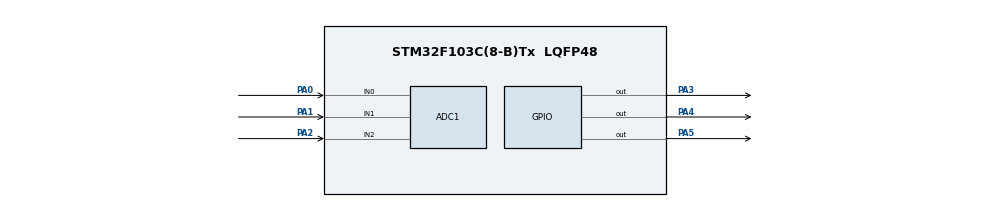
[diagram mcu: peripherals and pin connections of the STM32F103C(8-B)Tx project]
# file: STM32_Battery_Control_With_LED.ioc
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ADC1.Channel-0\#ChannelRegularConversion=ADC_CHANNEL_0
ADC1.Channel-1\#ChannelRegularConversion=ADC_CHANNEL_1
ADC1.ContinuousConvMode=ENABLE
ADC1.NbrOfConversion=2
ADC1.NbrOfConversionFlag=1
ADC1.Rank-0\#ChannelRegularConversion=1
ADC1.Rank-1\#ChannelRegularConversion=2
ADC1.SamplingTime-0\#ChannelRegularConversion=ADC_SAMPLETIME_1CYCLE_5
ADC1.SamplingTime-1\#ChannelRegularConversion=ADC_SAMPLETIME_1CYCLE_5
ADC1.master=1
Mcu.Family=STM32F1
Mcu.Name=STM32F103C(8-B)Tx
Mcu.Package=LQFP48
NVIC.ADC1_2_IRQn=true\:0\:0\:false\:false\:true\:true\:true\:true
NVIC.PriorityGroup=NVIC_PRIORITYGROUP_4
PA0-WKUP.Signal=ADCx_IN0
PA1.Signal=ADCx_IN1
PA13.Mode=Serial_Wire
PA13.Signal=SYS_JTMS-SWDIO
PA14.Mode=Serial_Wire
PA14.Signal=SYS_JTCK-SWCLK
PA2.Signal=ADCx_IN2
PA3.Signal=GPIO_Output
PA4.Signal=GPIO_Output
PA5.Signal=GPIO_Output
PD0-OSC_IN.Mode=HSE-External-Oscillator
PD0-OSC_IN.Signal=RCC_OSC_IN
PD1-OSC_OUT.Mode=HSE-External-Oscillator
PD1-OSC_OUT.Signal=RCC_OSC_OUT
ProjectManager.HeapSize=0x200
ProjectManager.StackSize=0x400
ProjectManager.TargetToolchain=STM32CubeIDE
RCC.APB1Freq_Value=8000000
RCC.APB2Freq_Value=8000000
SH.ADCx_IN0.0=ADC1_IN0,IN0
SH.ADCx_IN1.0=ADC1_IN1,IN1
SH.ADCx_IN2.0=ADC1_IN2,IN2
board=custom

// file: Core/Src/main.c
/* USER CODE BEGIN Header */
/**
  ******************************************************************************
  * @file           : main.c
  * @brief          : Main program body
  ******************************************************************************
  * @attention
  *
  * Copyright (c) 2025 STMicroelectronics.
  * All rights reserved.
  *
  * This software is licensed under terms that can be found in the LICENSE file
  * in the root directory of this software component.
  * If no LICENSE file comes with this software, it is provided AS-IS.
  *
  ******************************************************************************
  */
/* USER CODE END Header */

#include "main.h"

/* USER CODE BEGIN Includes */
// Gerekli ek kütüphaneler buraya eklenebilir
/* USER CODE END Includes */

/* USER CODE BEGIN PTD */
// Özel tip tanımlamaları buraya eklenebilir
/* USER CODE END PTD */

/* USER CODE BEGIN PD */
#define ADC_MAX_VALUE       4095.0f  // 12-bit ADC için maksimum değer (STM32F103)
#define VREF_VOLTAGE        3.3f     // STM32'nin dahili referans voltajı (genellikle 3.3V)

// Pil voltajı toleransları (gerçek pil voltajları için, 6V için voltaj bölücü sonrası okunan değeri temsil eder)
#define V_3V_MIN            2.8f     // 3V pil için alt tolerans sınırı
#define V_3V_MAX            3.2f     // 3V pil için üst tolerans sınırı
#define V_1V_MIN            0.8f     // 1V pil için alt tolerans sınırı
#define V_1V_MAX            1.2f     // 1V pil için üst tolerans sınırı
#define V_6V_MIN            2.8f     // 6V pil için alt tolerans sınırı (voltaj bölücü sonrası ~3V'a karşılık)
#define V_6V_MAX            3.2f     // 6V pil için üst tolerans sınırı (voltaj bölücü sonrası ~3V'a karşılık)

// LED pin tanımlamaları (Sizin tercihlerinize göre: Yeşil: PA3, Mavi: PA4, Kırmızı: PA5)
#define GREEN_LED_PIN       GPIO_PIN_3  // PA3 - 3V Pil için
#define BLUE_LED_PIN        GPIO_PIN_4  // PA4 - 1V Pil için
#define RED_LED_PIN         GPIO_PIN_5  // PA5 - 6V Pil için

#define LED_GPIO_PORT       GPIOA       // Tüm LED'ler GPIOA portunda

/* USER CODE END PD */

/* USER CODE BEGIN PM */
// Özel makrolar buraya eklenebilir
/* USER CODE END PM */

ADC_HandleTypeDef hadc1; // ADC1 için HAL tanıtıcısı

/* USER CODE BEGIN PV */
// Özel değişkenler buraya eklenebilir
/* USER CODE END PV */

void SystemClock_Config(void); // Sistem saati yapılandırma fonksiyonu
static void MX_GPIO_Init(void); // GPIO pinlerini başlatma fonksiyonu
static void MX_ADC1_Init(void); // ADC1 birimini başlatma fonksiyonu
/* USER CODE BEGIN PFP */
// Özel fonksiyon prototipleri buraya eklenebilir
/* USER CODE END PFP */

/* USER CODE BEGIN 0 */
// Kullanıcı tanımlı özel kod blokları buraya eklenebilir
/* USER CODE END 0 */

int main(void)
{
  /* USER CODE BEGIN 1 */
  // main fonksiyonunun başlangıcı için kullanıcı kodu
  /* USER CODE END 1 */

  /* MCU Configuration--------------------------------------------------------*/

  /* Reset of all peripherals, Initializes the Flash interface and the Systick. */
  HAL_Init(); // HAL kütüphanesini başlat

  /* USER CODE BEGIN Init */
  // Çevre birimi başlatmadan önce kullanıcı kodu
  /* USER CODE END Init */

  /* Configure the system clock */
  SystemClock_Config(); // Sistem saatini yapılandır

  /* USER CODE BEGIN SysInit */
  // Sistem başlatıldıktan sonra kullanıcı kodu
  /* USER CODE END SysInit */

  /* Initialize all configured peripherals */
  MX_GPIO_Init(); // GPIO pinlerini başlat
  MX_ADC1_Init(); // ADC1 birimini başlat
  /* USER CODE BEGIN 2 */
  // Çevre birimleri başlatıldıktan sonra kullanıcı kodu
  /* USER CODE END 2 */

  /* Infinite loop */
  /* USER CODE BEGIN WHILE */
  uint32_t adc_raw_value_ch0; // PA0'dan okunan ham ADC değeri (3V pil)
  uint32_t adc_raw_value_ch1; // PA1'den okunan ham ADC değeri (1V pil)
  uint32_t adc_raw_value_ch2; // PA2'den okunan ham ADC değeri (6V pil - voltaj bölücü sonrası)
  float voltage_3v_battery;   // 3V pilin okunacak voltaj değeri
  float voltage_1v_battery;   // 1V pilin okunacak voltaj değeri
  float voltage_6v_battery;   // 6V pilin okunacak voltaj değeri (voltaj bölücü sonrası)

  while (1)
  {
    // ADC dönüşümlerini başlat (Scan Mode etkin olduğu için 3 kanalı sırayla okuyacak)
    HAL_ADC_Start(&hadc1);

    // İlk kanalın (PA0 - 3V pil) dönüşümünün tamamlanmasını bekle
    HAL_ADC_PollForConversion(&hadc1, HAL_MAX_DELAY);
    adc_raw_value_ch0 = HAL_ADC_GetValue(&hadc1); // PA0 değerini al

    // İkinci kanalın (PA1 - 1V pil) dönüşümünün tamamlanmasını bekle
    HAL_ADC_PollForConversion(&hadc1, HAL_MAX_DELAY);
    adc_raw_value_ch1 = HAL_ADC_GetValue(&hadc1); // PA1 değerini al

    // Üçüncü kanalın (PA2 - 6V pil) dönüşümünün tamamlanmasını bekle
    HAL_ADC_PollForConversion(&hadc1, HAL_MAX_DELAY);
    adc_raw_value_ch2 = HAL_ADC_GetValue(&hadc1); // PA2 değerini al

    // ADC'yi durdur
    HAL_ADC_Stop(&hadc1);

    // Ham ADC değerlerini gerçek voltaja dönüştür
    voltage_3v_battery = (adc_raw_value_ch0 / ADC_MAX_VALUE) * VREF_VOLTAGE;
    voltage_1v_battery = (adc_raw_value_ch1 / ADC_MAX_VALUE) * VREF_VOLTAGE;
    voltage_6v_battery = (adc_raw_value_ch2 / ADC_MAX_VALUE) * VREF_VOLTAGE; // Okunan değer voltaj bölücü sonrası değerdir

    // --- LED Kontrol Mantığı ---
    // Her döngü başında tüm LED'leri söndür ki sadece ilgili olan yansın
    HAL_GPIO_WritePin(LED_GPIO_PORT, GREEN_LED_PIN, GPIO_PIN_RESET);
    HAL_GPIO_WritePin(LED_GPIO_PORT, BLUE_LED_PIN, GPIO_PIN_RESET);
    HAL_GPIO_WritePin(LED_GPIO_PORT, RED_LED_PIN, GPIO_PIN_RESET);

    // Eğer 3V pil voltajı belirlenen aralıktaysa Yeşil LED'i yak (PA3)
    if (voltage_3v_battery >= V_3V_MIN && voltage_3v_battery <= V_3V_MAX)
    {
      HAL_GPIO_WritePin(LED_GPIO_PORT, GREEN_LED_PIN, GPIO_PIN_SET);
    }
    // Eğer 1V pil voltajı belirlenen aralıktaysa Mavi LED'i yak (PA4)
    else if (voltage_1v_battery >= V_1V_MIN && voltage_1v_battery <= V_1V_MAX)
    {
    	HAL_GPIO_WritePin(LED_GPIO_PORT, BLUE_LED_PIN, GPIO_PIN_SET);
    }
    // Eğer 6V pil voltajı belirlenen aralıktaysa Kırmızı LED'i yak (PA5 - voltaj bölücü sonrası ~3V'a karşılık)
    else if (voltage_6v_battery >= V_6V_MIN && voltage_6v_battery <= V_6V_MAX)
    {
    	HAL_GPIO_WritePin(LED_GPIO_PORT, RED_LED_PIN, GPIO_PIN_SET);
    }
    // Hiçbir koşul sağlanmazsa zaten tüm LED'ler başta söndürülmüştü

    HAL_Delay(500); // 500 milisaniye bekle
  }
  /* USER CODE END WHILE */

  /* USER CODE BEGIN 3 */
  // Sonsuz döngüden sonraki kullanıcı kodu (buraya genellikle ulaşılmaz)
  /* USER CODE END 3 */
}

void SystemClock_Config(void)
{
  RCC_OscInitTypeDef RCC_OscInitStruct = {0};
  RCC_ClkInitTypeDef RCC_ClkInitStruct = {0};
  RCC_PeriphCLKInitTypeDef PeriphClkInit = {0};

  /** Initializes the RCC Oscillators according to the specified parameters
  * in the RCC_OscInitTypeDef structure.
  */
  // HSI (Dahili Yüksek Hızlı Osilatör) kullanılıyor.
  // Eğer harici kristal (HSE) kullanmak isterseniz bu kısmı CubeIDE'den ayarlayarak değiştirmelisiniz.
  RCC_OscInitStruct.OscillatorType = RCC_OSCILLATORTYPE_HSI;
  RCC_OscInitStruct.HSIState = RCC_HSI_ON;
  RCC_OscInitStruct.HSICalibrationValue = RCC_HSICALIBRATION_DEFAULT;
  RCC_OscInitStruct.PLL.PLLState = RCC_PLL_NONE; // PLL kullanılmıyor, HSI doğrudan SYSCLK'e bağlanıyor
  if (HAL_RCC_OscConfig(&RCC_OscInitStruct) != HAL_OK)
  {
    Error_Handler();
  }

  /** Initializes the CPU, AHB and APB buses clocks
  */
  // Sistem saati HSI'dan geliyor (8MHz varsayılan)
  RCC_ClkInitStruct.ClockType = RCC_CLOCKTYPE_HCLK|RCC_CLOCKTYPE_SYSCLK
                              |RCC_CLOCKTYPE_PCLK1|RCC_CLOCKTYPE_PCLK2;
  RCC_ClkInitStruct.SYSCLKSource = RCC_SYSCLKSOURCE_HSI; // Sistem saati kaynağı HSI
  RCC_ClkInitStruct.AHBCLKDivider = RCC_SYSCLK_DIV1;
  RCC_ClkInitStruct.APB1CLKDivider = RCC_HCLK_DIV1;
  RCC_ClkInitStruct.APB2CLKDivider = RCC_HCLK_DIV1;

  if (HAL_RCC_ClockConfig(&RCC_ClkInitStruct, FLASH_LATENCY_0) != HAL_OK)
  {
    Error_Handler();
  }
  // ADC saati yapılandırması (APB2 saatinden bölünerek)
  PeriphClkInit.PeriphClockSelection = RCC_PERIPHCLK_ADC;
  PeriphClkInit.AdcClockSelection = RCC_ADCPCLK2_DIV2; // APB2 saatinin 2'ye bölünmesi
  if (HAL_RCCEx_PeriphCLKConfig(&PeriphClkInit) != HAL_OK)
  {
    Error_Handler();
  }
}

static void MX_ADC1_Init(void)
{

  /* USER CODE BEGIN ADC1_Init 0 */
  // ADC1 başlatma öncesi kullanıcı kodu
  /* USER CODE END ADC1_Init 0 */

  ADC_ChannelConfTypeDef sConfig = {0};

  /* USER CODE BEGIN ADC1_Init 1 */
  // ADC1 başlatma sonrası kullanıcı kodu
  /* USER CODE END ADC1_Init 1 */

  /** Common config
  * ADC'nin genel ayarları
  */
  hadc1.Instance = ADC1; // Kullanılacak ADC birimi (ADC1)
  hadc1.Init.ScanConvMode = ADC_SCAN_ENABLE; // Tarama modu AÇIK
  hadc1.Init.ContinuousConvMode = DISABLE;   // Sürekli dönüşüm modu KAPALI (manuel başlatacağız)
  hadc1.Init.DiscontinuousConvMode = DISABLE; // Kesintili dönüşüm modu KAPALI
  hadc1.Init.ExternalTrigConv = ADC_SOFTWARE_START; // Yazılım tetiklemeli başlatma
  hadc1.Init.DataAlign = ADC_DATAALIGN_RIGHT; // Veri hizalaması (sağa hizalı)
  hadc1.Init.NbrOfConversion = 3; // Toplam 3 kanal okunacak (PA0, PA1, PA2)
  if (HAL_ADC_Init(&hadc1) != HAL_OK)
  {
    Error_Handler();
  }

  /** Configure Regular Channel - ADC_CHANNEL_0 (PA0)
  * PA0 pinini ADC Kanal 0 olarak yapılandır (Rank 1)
  */
  sConfig.Channel = ADC_CHANNEL_0;
  sConfig.Rank = ADC_REGULAR_RANK_1; // Düzenli dönüşüm sırasındaki ilk kanal
  sConfig.SamplingTime = ADC_SAMPLETIME_1CYCLE_5; // Örnekleme süresi
  if (HAL_ADC_ConfigChannel(&hadc1, &sConfig) != HAL_OK)
  {
    Error_Handler();
  }

  /** Configure Regular Channel - ADC_CHANNEL_1 (PA1)
  * PA1 pinini ADC Kanal 1 olarak yapılandır (Rank 2)
  */
  sConfig.Channel = ADC_CHANNEL_1;
  sConfig.Rank = ADC_REGULAR_RANK_2; // Düzenli dönüşüm sırasındaki ikinci kanal
  sConfig.SamplingTime = ADC_SAMPLETIME_1CYCLE_5; // Örnekleme süresi
  if (HAL_ADC_ConfigChannel(&hadc1, &sConfig) != HAL_OK)
  {
    Error_Handler();
  }

  /** Configure Regular Channel - ADC_CHANNEL_2 (PA2)
  * PA2 pinini ADC Kanal 2 olarak yapılandır (Rank 3)
  */
  sConfig.Channel = ADC_CHANNEL_2;
  sConfig.Rank = ADC_REGULAR_RANK_3; // Düzenli dönüşüm sırasındaki üçüncü kanal
  sConfig.SamplingTime = ADC_SAMPLETIME_1CYCLE_5; // Örnekleme süresi
  if (HAL_ADC_ConfigChannel(&hadc1, &sConfig) != HAL_OK)
  {
    Error_Handler();
  }
  /* USER CODE END ADC1_Init 2 */

}

static void MX_GPIO_Init(void)
{
  GPIO_InitTypeDef GPIO_InitStruct = {0};
  /* USER CODE BEGIN MX_GPIO_Init_1 */
  // GPIO başlatma öncesi kullanıcı kodu
  /* USER CODE END MX_GPIO_Init_1 */

  /* GPIO Ports Clock Enable */
  __HAL_RCC_GPIOD_CLK_ENABLE(); // GPIOD saati etkinleştirildi (eğer kullanılıyorsa)
  __HAL_RCC_GPIOA_CLK_ENABLE(); // GPIOA saati etkinleştirildi

  /*Configure GPIO pin Output Level */
  // Başlangıçta tüm LED pinlerini KAPALI yap
  HAL_GPIO_WritePin(GPIOA, GREEN_LED_PIN|BLUE_LED_PIN|RED_LED_PIN, GPIO_PIN_RESET);

  /*Configure GPIO pins : PA3 PA4 PA5 */
  // LED pinlerini çıkış olarak yapılandır
  GPIO_InitStruct.Pin = GREEN_LED_PIN|BLUE_LED_PIN|RED_LED_PIN; // PA3, PA4, PA5
  GPIO_InitStruct.Mode = GPIO_MODE_OUTPUT_PP; // Push-Pull çıkış modu
  GPIO_InitStruct.Pull = GPIO_NOPULL; // Pull-up/down direnci yok
  GPIO_InitStruct.Speed = GPIO_SPEED_FREQ_LOW; // Düşük çıkış hızı
  HAL_GPIO_Init(GPIOA, &GPIO_InitStruct);

  /* USER CODE BEGIN MX_GPIO_Init_2 */
  // GPIO başlatma sonrası kullanıcı kodu
  /* USER CODE END MX_GPIO_Init_2 */
}

/* USER CODE BEGIN 4 */
// Özel fonksiyonlar buraya eklenebilir
/* USER CODE END 4 */

void Error_Handler(void)
{
  /* USER CODE BEGIN Error_Handler_Debug */
  /* User can add his own implementation to report the HAL error return state */
  __disable_irq(); // Tüm kesmeleri devre dışı bırak
  while (1)
  {
    // Hata durumunda burada takılı kalır, debug için kullanılabilir
  }
  /* USER CODE END Error_Handler_Debug */
}
